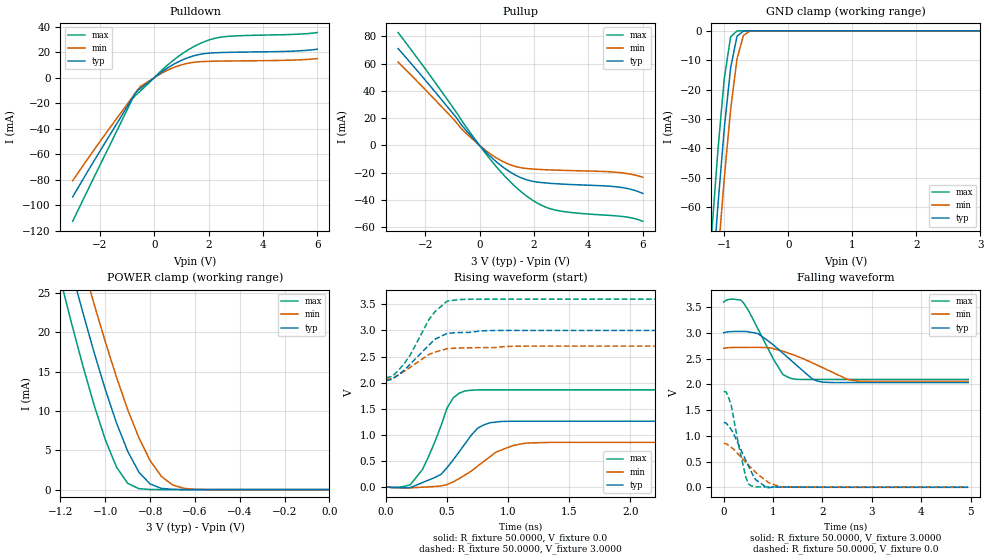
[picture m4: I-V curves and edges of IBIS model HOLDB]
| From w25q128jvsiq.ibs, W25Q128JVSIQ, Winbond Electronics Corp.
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|   Model HOLDB
[Model]  HOLDB
Model_type I/O
Polarity   Non-Inverting
Enable   Active-High
Vinl =   0.9000V
Vinh =   2.1000V
Vmeas =  1.5000V
Cref =   30.0000pF
C_comp   1.5000pF   1.4500pF   1.5500pF
[Temperature Range]   25.0000   85.0000   -40.0000
[Voltage Range]   3.0000V   2.7000V   3.6000V
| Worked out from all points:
|   slope of the pulldown table from 0 to 0.45 V, typ, clamps not added: 63.8 ohm
|   slope of the pullup table from 0 to 0.45 V, typ, clamps not added: 49.8 ohm
|   GND clamp passes 1 mA (typ) near -0.75 V on its own axis
|   POWER clamp passes 1 mA (typ) near -0.81 V on its own axis
|   rising waveform, R_fixture 50.0000, V_fixture 0.0: 20-80 % time 249ps typ, 310ps min, 190ps max; typ from 0 V to 1.26 V
|   rising waveform, R_fixture 50.0000, V_fixture 3.0000: 20-80 % time 246ps typ, 258ps min, 222ps max; typ from 2.04 V to 3 V
|   falling waveform, R_fixture 50.0000, V_fixture 3.0000: 20-80 % time 696ps typ, 894ps min, 491ps max; typ from 3 V to 2.04 V
|   falling waveform, R_fixture 50.0000, V_fixture 0.0: 20-80 % time 368ps typ, 545ps min, 234ps max; typ from 1.26 V to 0 V
[Pulldown]
|   Voltage   I(typ)   I(min)   I(max)
-3V       -93.59mA   -80.93mA   -112.8mA
-2V       -57.8mA    -50.28mA   -68.87mA
-800mV    -15.96mA   -15.17mA   -16.57mA
-700mV    -12.38mA   -12.19mA   -14.18mA
-500mV    -8.303mA   -6.812mA   -10.29mA
300mV     4.879mA    3.795mA    6.234mA
800mV     11.49mA    8.62mA     15.25mA
1.6V      17.96mA    12.4mA     25.94mA
2V        19.24mA    12.82mA    29.46mA
2.4V      19.7mA     13mA       31.65mA
5V        20.76mA    13.75mA    33.9mA
6V        22.32mA    14.97mA    35.42mA
[Pullup]
|   Voltage   I(typ)   I(min)   I(max)
-3V       71.01mA    61.13mA    82.78mA
-1.7V     40.73mA    34.68mA    47.85mA
-600mV    13.39mA    10.88mA    16.44mA
100mV     -2.143mA   -1.687mA   -2.694mA
900mV     -16.46mA   -12.22mA   -21.98mA
1.3V      -21.51mA   -15.28mA   -29.95mA
1.7V      -24.95mA   -16.79mA   -36.65mA
2.3V      -27.22mA   -17.65mA   -44.05mA
2.8V      -28.02mA   -18.05mA   -47.41mA
5V        -30.23mA   -19.59mA   -51.56mA
5.5V      -31.82mA   -20.83mA   -52.75mA
6V        -35.14mA   -23.23mA   -55.57mA
[GND_clamp]
|   Voltage   I(typ)   I(min)   I(max)
-3V       -707.7mA   -720.7mA   -694.7mA
-1.2V     -89.16mA   -107mA     -70.17mA
-1.1V     -59.83mA   -77.55mA   -41.02mA
-1V       -33.41mA   -50.32mA   -16.3mA
-900mV    -12.54mA   -26.75mA   -2.058mA
-800mV    -1.847mA   -9.507mA   -36.99uA
-700mV    -80.49uA   -1.558mA   -360.1nA
-600mV    -2.235uA   -112.5uA   -3.309nA
3V        3.001pA    4.306pA    3pA
[POWER_clamp]
|   Voltage   I(typ)   I(min)   I(max)
-3V       257.5mA    256.8mA    258.9mA
-1.2V     33.26mA    39.19mA    26.7mA
-1.15V    27.79mA    33.84mA    21.1mA
-1.1V     22.51mA    28.64mA    15.75mA
-1.05V    17.46mA    23.61mA    10.76mA
-950mV    8.474mA    14.29mA    2.864mA
-900mV    4.871mA    10.17mA    795.3uA
-850mV    2.212mA    6.58mA     120.3uA
-800mV    710.4uA    3.691mA    12.73uA
-750mV    158.9uA    1.686mA    1.202uA
-650mV    4.579uA    166.5uA    9.965nA
0V        0A         0A         0A
[Ramp]
|variable   typ   min   max
dV/dt_r   0.5791/0.179n   0.3856/0.424n   0.903/0.173n
dV/dt_f   0.756/0.392n   0.512/0.532n   1.117/0.267n
R_load = 50.0000
[Rising Waveform]
R_fixture= 50.0000
V_fixture= 0.0
V_fixture_min= 0.0
V_fixture_max= 0.0
|   Time   V(typ)   V(min)   V(max)
0s        0V         0V         0V
200ps     -12.12mV   -17.65mV   43.23mV
300ps     84.67mV    -4.638mV   339.4mV
500ps     368.9mV    45.76mV    1.513V
550ps     519.5mV    96.56mV    1.706V
650ps     837.7mV    232.5mV    1.842V
800ps     1.189V     488.4mV    1.861V
900ps     1.244V     667.8mV    1.861V
1.15ns    1.26V      840.4mV    1.861V
4.95ns    1.26V      853.8mV    1.861V
[Rising Waveform]
R_fixture= 50.0000
V_fixture= 3.0000
V_fixture_min= 2.7000
V_fixture_max= 3.6000
|   Time   V(typ)   V(min)   V(max)
0s        2.035V     2.057V     2.095V
50ps      2.062V     2.08V      2.117V
150ps     2.24V      2.216V     2.365V
200ps     2.357V     2.296V     2.533V
350ps     2.716V     2.537V     3.203V
400ps     2.83V      2.584V     3.358V
500ps     2.945V     2.65V      3.562V
550ps     2.954V     2.659V     3.578V
1ns       3.001V     2.694V     3.6V
4.95ns    3V         2.7V       3.6V
[Falling Waveform]
R_fixture= 50.0000
V_fixture= 3.0000
V_fixture_min= 2.7000
V_fixture_max= 3.6000
|   Time   V(typ)   V(min)   V(max)
0s        3V         2.7V       3.6V
200ps     3.027V     2.716V     3.655V
400ps     3.029V     2.717V     3.585V
700ps     2.983V     2.719V     3.066V
1.2ns     2.605V     2.644V     2.189V
1.35ns    2.478V     2.593V     2.118V
1.8ns     2.103V     2.415V     2.094V
2ns       2.043V     2.326V     2.095V
2.7ns     2.035V     2.065V     2.095V
4.95ns    2.035V     2.057V     2.095V
[Falling Waveform]
R_fixture= 50.0000
V_fixture= 0.0
V_fixture_min= 0.0
V_fixture_max= 0.0
|   Time   V(typ)   V(min)   V(max)
0s        1.26V      853.8mV    1.861V
50ps      1.247V     846mV      1.853V
150ps     1.125V     779.9mV    1.609V
300ps     832mV      638.2mV    834.9mV
450ps     519mV      485.4mV    190.5mV
550ps     321.1mV    386.9mV    29.97mV
650ps     146.1mV    288.4mV    7.88mV
850ps     7.595mV    134.7mV    6.212mV
1.2ns     4.347mV    4.692mV    6.162mV
4.95ns    0V         0V         0V
